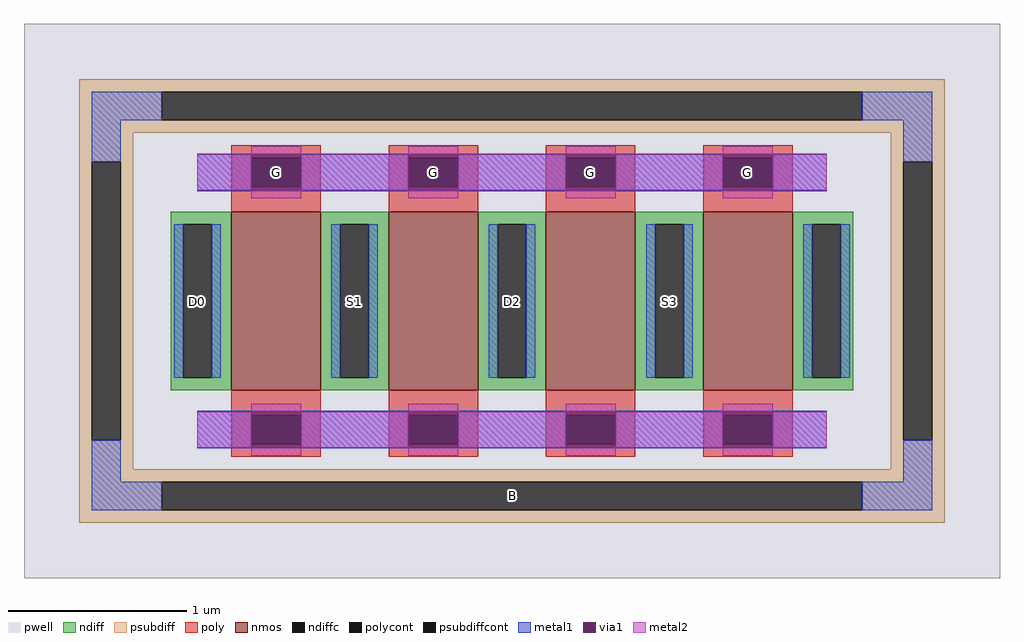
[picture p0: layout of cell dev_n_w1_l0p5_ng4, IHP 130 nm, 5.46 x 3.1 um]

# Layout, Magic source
magic
tech ihp-sg13cmos5l
magscale 1 2
<< pwell >>
rect -546 -310 546 310
<< nmos >>
rect -314 -100 -214 100
rect -138 -100 -38 100
rect 38 -100 138 100
rect 214 -100 314 100
<< ndiff >>
rect -382 86 -314 100
rect -382 -86 -368 86
rect -336 -86 -314 86
rect -382 -100 -314 -86
rect -214 86 -138 100
rect -214 -86 -192 86
rect -160 -86 -138 86
rect -214 -100 -138 -86
rect -38 86 38 100
rect -38 -86 -16 86
rect 16 -86 38 86
rect -38 -100 38 -86
rect 138 86 214 100
rect 138 -86 160 86
rect 192 -86 214 86
rect 138 -100 214 -86
rect 314 86 382 100
rect 314 -86 336 86
rect 368 -86 382 86
rect 314 -100 382 -86
<< ndiffc >>
rect -368 -86 -336 86
rect -192 -86 -160 86
rect -16 -86 16 86
rect 160 -86 192 86
rect 336 -86 368 86
<< psubdiff >>
rect -484 234 484 248
rect -484 202 -392 234
rect 392 202 484 234
rect -484 188 484 202
rect -484 156 -424 188
rect -484 -156 -470 156
rect -438 -156 -424 156
rect 424 156 484 188
rect -484 -188 -424 -156
rect 424 -156 438 156
rect 470 -156 484 156
rect 424 -188 484 -156
rect -484 -202 484 -188
rect -484 -234 -392 -202
rect 392 -234 484 -202
rect -484 -248 484 -234
<< psubdiffcont >>
rect -392 202 392 234
rect -470 -156 -438 156
rect 438 -156 470 156
rect -392 -234 392 -202
<< poly >>
rect -314 160 -214 174
rect -314 128 -292 160
rect -236 128 -214 160
rect -314 100 -214 128
rect -138 160 -38 174
rect -138 128 -116 160
rect -60 128 -38 160
rect -138 100 -38 128
rect 38 160 138 174
rect 38 128 60 160
rect 116 128 138 160
rect 38 100 138 128
rect 214 160 314 174
rect 214 128 236 160
rect 292 128 314 160
rect 214 100 314 128
rect -314 -128 -214 -100
rect -314 -160 -292 -128
rect -236 -160 -214 -128
rect -314 -174 -214 -160
rect -138 -128 -38 -100
rect -138 -160 -116 -128
rect -60 -160 -38 -128
rect -138 -174 -38 -160
rect 38 -128 138 -100
rect 38 -160 60 -128
rect 116 -160 138 -128
rect 38 -174 138 -160
rect 214 -128 314 -100
rect 214 -160 236 -128
rect 292 -160 314 -128
rect 214 -174 314 -160
<< polycont >>
rect -292 128 -236 160
rect -116 128 -60 160
rect 60 128 116 160
rect 236 128 292 160
rect -292 -160 -236 -128
rect -116 -160 -60 -128
rect 60 -160 116 -128
rect 236 -160 292 -128
<< metal1 >>
rect -470 202 -392 234
rect 392 202 470 234
rect -470 156 -438 202
rect -352 164 352 165
rect -352 124 -292 164
rect -236 124 -116 164
rect -60 124 60 164
rect 116 124 236 164
rect 292 124 352 164
rect -352 123 352 124
rect 438 156 470 202
rect -378 -86 -368 86
rect -336 -86 -326 86
rect -202 -86 -192 86
rect -160 -86 -150 86
rect -26 -86 -16 86
rect 16 -86 26 86
rect 150 -86 160 86
rect 192 -86 202 86
rect 326 -86 336 86
rect 368 -86 378 86
rect -470 -202 -438 -156
rect -352 -124 352 -123
rect -352 -164 -292 -124
rect -236 -164 -116 -124
rect -60 -164 60 -124
rect 116 -164 236 -124
rect 292 -164 352 -124
rect -352 -165 352 -164
rect 438 -202 470 -156
rect -470 -234 -392 -202
rect 392 -234 470 -202
<< via1 >>
rect -292 160 -236 164
rect -292 128 -236 160
rect -292 124 -236 128
rect -116 160 -60 164
rect -116 128 -60 160
rect -116 124 -60 128
rect 60 160 116 164
rect 60 128 116 160
rect 60 124 116 128
rect 236 160 292 164
rect 236 128 292 160
rect 236 124 292 128
rect -292 -128 -236 -124
rect -292 -160 -236 -128
rect -292 -164 -236 -160
rect -116 -128 -60 -124
rect -116 -160 -60 -128
rect -116 -164 -60 -160
rect 60 -128 116 -124
rect 60 -160 116 -128
rect 60 -164 116 -160
rect 236 -128 292 -124
rect 236 -160 292 -128
rect 236 -164 292 -160
<< metal2 >>
rect -292 164 -236 173
rect -116 164 -60 173
rect 60 164 116 173
rect 236 164 292 173
rect -352 124 -292 164
rect -236 124 -116 164
rect -60 124 60 164
rect 116 124 236 164
rect 292 124 352 164
rect -292 115 -236 124
rect -116 115 -60 124
rect 60 115 116 124
rect 236 115 292 124
rect -292 -124 -236 -115
rect -116 -124 -60 -115
rect 60 -124 116 -115
rect 236 -124 292 -115
rect -352 -164 -292 -124
rect -236 -164 -116 -124
rect -60 -164 60 -124
rect 116 -164 236 -124
rect 292 -164 352 -124
rect -292 -173 -236 -164
rect -116 -173 -60 -164
rect 60 -173 116 -164
rect 236 -173 292 -164
<< labels >>
rlabel psubdiffcont 0 -218 0 -218 0 B
port 1 nsew
rlabel ndiffc -352 0 -352 0 0 D0
port 2 nsew
rlabel polycont -264 144 -264 144 0 G
port 3 nsew
rlabel ndiffc -176 0 -176 0 0 S1
port 4 nsew
rlabel polycont -88 144 -88 144 0 G
port 3 nsew
rlabel ndiffc 0 0 0 0 0 D2
port 5 nsew
rlabel polycont 88 144 88 144 0 G
port 3 nsew
rlabel ndiffc 176 0 176 0 0 S3
port 6 nsew
rlabel polycont 264 144 264 144 0 G
port 3 nsew
<< properties >>
string FIXED_BBOX -454 -218 454 218
string gencell sg13_lv_nmos
string library sg13cmos5l
string parameters w 1 l 0.5 m 1 ng 4 diffcov 100 polycov 100 guard 1 glc 1 grc 1 gtc 1 gbc 1 tbcov 100 rlcov 100 topc 1 botc 1 poverlap 0 doverlap 1 lmin 0.13 wmin 0.15 class mosfet compatible {sg13_lv_nmos sg13_hv_nmos} full_metal 1 conn_gates 1 gate_ring 0 doports 1 viasrc 0 viadrn 0 viagate 100 ccols 1 viagb 0 viagr 0 viagl 0 viagt 0
<< end >>
